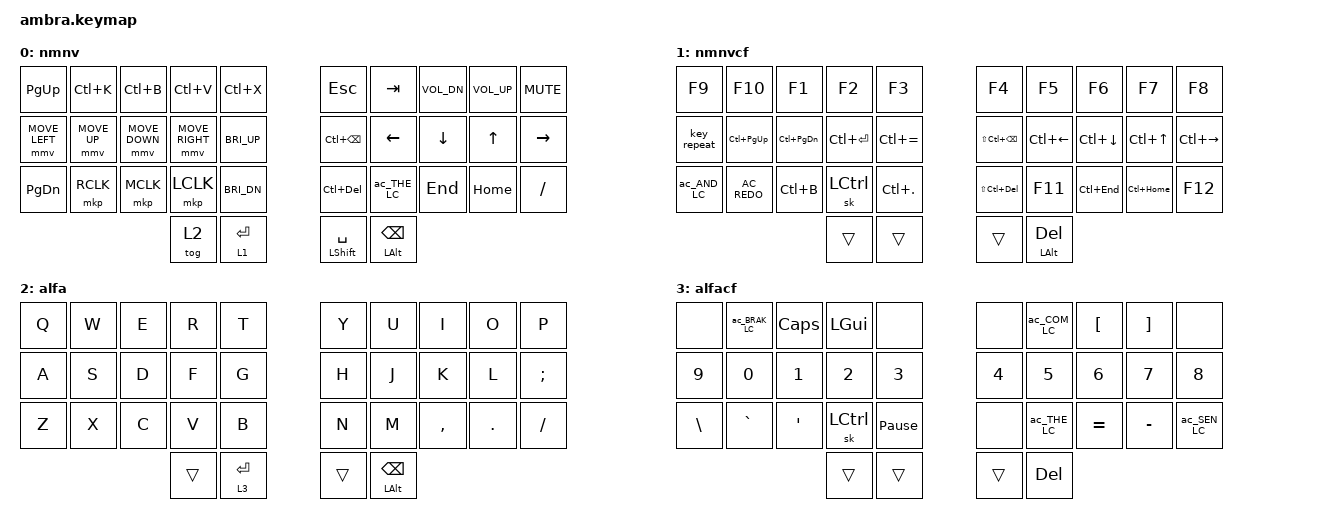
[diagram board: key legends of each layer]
/*
 * Copyright (c) 2021 The ZMK Contributors
 *
 * SPDX-License-Identifier: MIT
 */

#include <behaviors.dtsi>
#include <dt-bindings/zmk/keys.h>
#include <dt-bindings/zmk/pointing.h>
#define nmnv 0
#define nmnvcf 1
#define alfa 2
#define alfacf 3

&mmv {    
        time-to-max-speed-ms = <400>;
        acceleration-exponent=<1>;
};
&msc {    
        time-to-max-speed-ms = <1000>;
        acceleration-exponent=<0>;
}; 

&mt {
        tapping-term-ms = <300>;
		quick-tap-ms = <200>;
};

&sk {
   	release-after-ms = <4000>;
};

&key_repeat {
    usage-pages = <HID_USAGE_KEY HID_USAGE_CONSUMER>;
};

/ {
    combos {
        compatible = "zmk,combos";
        combo_l3 {
            timeout-ms = <50>;
            key-positions = <30 31>;
	    layers = <2 3>;
            bindings = <&tog 3>;
        };
	combo_wu {
            timeout-ms = <50>;
            key-positions = <10 13>;
	    layers = <0>;
            bindings = <&msc SCRL_UP>;
        };
	combo_wd {
            timeout-ms = <50>;
            key-positions = <11 12>;
	    layers = <0>;
            bindings = <&msc SCRL_DOWN>;
        };
    };
};

/ {

macros {
        ac_THE_LC: ac_THE_LC {
        compatible = "zmk,behavior-macro";
        #binding-cells = <0>;
        wait-ms = <5>;
        tap-ms = <5>;
        bindings
        = <&macro_tap &kp D>
        , <&macro_release &kp LSHIFT>
        , <&macro_tap &kp J &kp L &kp SPACE>
        ;
      };
        ac_BRAK_LC: ac_BRAK_LC {
        compatible = "zmk,behavior-macro";
        #binding-cells = <0>;
        wait-ms = <5>;
        tap-ms = <5>;
        bindings
        = <&macro_tap &kp KP_LPAR &kp KP_RPAR &kp LEFT>
        ;
      };
        ac_SEN_LC: ac_SEN_LC {
        compatible = "zmk,behavior-macro";
        #binding-cells = <0>;
        wait-ms = <5>;
        tap-ms = <5>;
        bindings
        = <&macro_tap &kp SLASH &kp SPACE &sk LSHIFT>
        ;
    };
	ac_COM_LC: ac_COM_LC {
        compatible = "zmk,behavior-macro";
        #binding-cells = <0>;
        wait-ms = <5>;
        tap-ms = <5>;
        bindings
        = <&macro_tap &kp SLASH &kp R &kp I &kp C>
        ;
    };
	ac_AND_LC: ac_AND_LC {
        compatible = "zmk,behavior-macro";
        #binding-cells = <0>;
        wait-ms = <5>;
        tap-ms = <5>;
        bindings
        = <&macro_tap &kp K &kp A &kp E &kp SPACE>
        ;
    };
};

	keymap {
		compatible = "zmk,keymap";

		nmnv {
			bindings = <
			&kp PG_UP      &kp LC(K)    &kp LC(B)      &kp LC(V)       &kp LC(X)     &kp ESC      &kp TAB    &kp C_VOL_DN &kp C_VOL_UP &kp C_MUTE 
			&mmv MOVE_LEFT &mmv MOVE_UP &mmv MOVE_DOWN &mmv MOVE_RIGHT &kp C_BRI_UP  &kp LC(BSPC) &kp LEFT   &kp DOWN     &kp UP       &kp RIGHT      
			&kp PG_DN      &mkp RCLK    &mkp MCLK      &mkp LCLK       &kp C_BRI_DN  &kp LC(DEL)  &ac_THE_LC &kp END      &kp HOME     &kp SLASH  
				                                          	   &tog 2 &lt 1 ENTER   &mt LSHIFT SPACE &mt LALT BSPC
			>;
		};
		nmnvcf {
			bindings = <
			&kp F9      &kp F10       &kp F1         &kp F2        &kp F3        &kp F4           &kp F5       &kp F6       &kp F7       &kp F8
			&key_repeat &kp LC(PG_UP) &kp LC(PG_DN)  &kp LC(ENTER) &kp LC(EQUAL) &kp LS(LC(BSPC)) &kp LC(LEFT) &kp LC(DOWN) &kp LC(UP)   &kp LC(RIGHT) 
            &ac_AND_LC  &kp C_AC_REDO &kp LC(B)      &sk LCTRL     &kp LC(DOT)   &kp LS(LC(DEL))  &kp F11      &kp LC(END)  &kp LC(HOME) &kp F12
				                                          &trans   &trans        &trans  &mt LALT DEL
			>;
		};
		alfa {
			bindings = <
			&kp Q     &kp W     &kp E     &kp R     &kp T     &kp Y     &kp U     &kp I     &kp O     &kp P
			&kp A     &kp S     &kp D     &kp F     &kp G     &kp H     &kp J     &kp K     &kp L     &kp SEMI
			&kp Z     &kp X     &kp C     &kp V     &kp B     &kp N     &kp M     &kp COMMA &kp DOT   &kp SLASH
				            	     &trans   &lt 3 ENTER     &trans  &mt LALT BSPC
			>;
		};
		alfacf {
			bindings = <
			&none    &ac_BRAK_LC &kp CAPS &kp LGUI  &none            &none  &ac_COM_LC &kp LBKT  &kp RBKT  &none
			&kp N9   &kp N0      &kp N1   &kp N2    &kp N3           &kp N4 &kp N5     &kp N6    &kp N7    &kp N8
			&kp BSLH &kp GRAVE   &kp SQT  &sk LCTRL &kp PAUSE_BREAK  &none  &ac_THE_LC &kp EQUAL &kp MINUS &ac_SEN_LC
				                            &trans   &trans    &trans  &kp DEL
			>;
		};

	};
};
